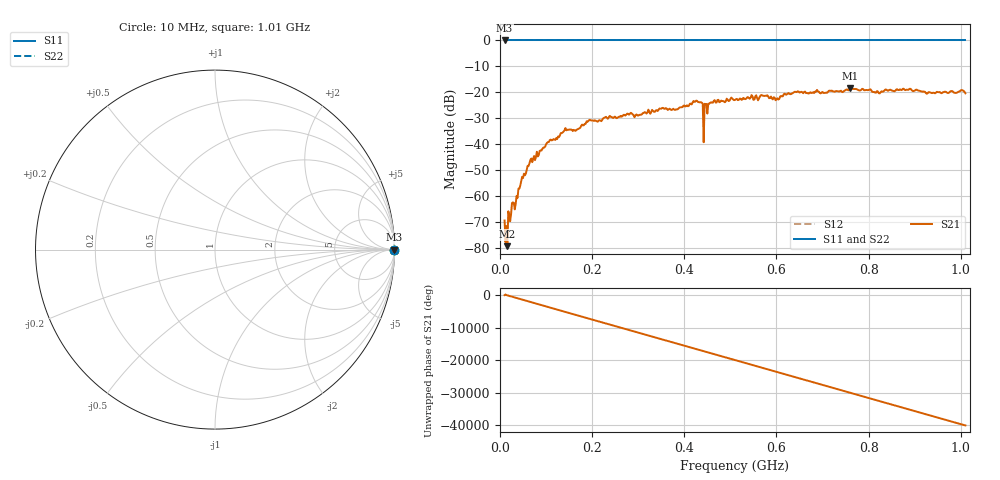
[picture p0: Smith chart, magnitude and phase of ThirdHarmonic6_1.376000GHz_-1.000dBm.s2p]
! 8/16/2025 3:36:59 PM
! C:\ANRITSUVNA\TEMP\TEMP.S2P
! CHANNEL.1
! TR.MEASUREMENT
! RAW.DATA
! RF.CORRECTION.OFF
! AVERAGING.OFF
! IF.BANDWIDTH: 5KHZ
! SWEEPTYPE:  FREQ.SWEEP(Linear)
! Reference Plane Port Info
! PORT:  PORT1  PORT2
! DISTANCE:  0  m  0  m
! TIME:  0  s  0  s
! PHASE.OFFSET:  0  deg.  0  deg.
! LOSS:  0  dB  0  dB
! REF.LOSS:  0  dB  0  dB
! REF.FREQ:  0  Hz  0  Hz
! Power Info
! POWER:  -20  dBm  -20  dBm
! EFF.POWER:  -20  dBm  -20  dBm
! SOURCE.ATTEN:  0  dB  0  dB
! TEST.ATTEN:  0  dB  0  dB
# GHZ S RI R 50.0
! FREQ.GHZ  S11RE  S11IM  S21RE  S21IM  S12RE  S12IM  S22RE  S22IM
!; PortSelection: Port_12
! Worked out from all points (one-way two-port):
!   501 points, 10 MHz to 1.01 GHz, reference 50 ohm
!   highest |S21| = -18.48 dB at 760 MHz (marker M1); lowest = -79.5 dB at 16 MHz (marker M2)
!   lowest |S11| = 0.0 dB at 10 MHz (marker M3)
!   |S11| at or under -10 dB: nowhere
!   |S22| runs from 0.0 to 0.0 dB; largest |S21 - S12| = 1.1
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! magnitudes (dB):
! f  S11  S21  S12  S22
! 10 MHz  0.0  -69.5  0.0  0.0
! 12 MHz  0.0  -77.9  0.0  0.0
! 16 MHz  0.0  -79.5  0.0  0.0
! 22 MHz  0.0  -69.9  0.0  0.0
! 64 MHz  0.0  -47.4  0.0  0.0
! 106 MHz  0.0  -39.2  0.0  0.0
! 142 MHz  0.0  -33.8  0.0  0.0
! 178 MHz  0.0  -32.5  0.0  0.0
! 196 MHz  0.0  -30.8  0.0  0.0
! 344 MHz  0.0  -26.9  0.0  0.0
! 382 MHz  0.0  -26.6  0.0  0.0
! 424 MHz  0.0  -23.6  0.0  0.0
! 436 MHz  0.0  -23.9  0.0  0.0
! 438 MHz  0.0  -24.1  0.0  0.0
! 446 MHz  0.0  -24.6  0.0  0.0
! 448 MHz  0.0  -24.5  0.0  0.0
! 462 MHz  0.0  -24.0  0.0  0.0
! 510 MHz  0.0  -23.0  0.0  0.0
! 678 MHz  0.0  -20.2  0.0  0.0
! 760 MHz  0.0  -18.5  0.0  0.0
! 844 MHz  0.0  -19.2  0.0  0.0
! 1.01 GHz  0.0  -20.4  0.0  0.0
